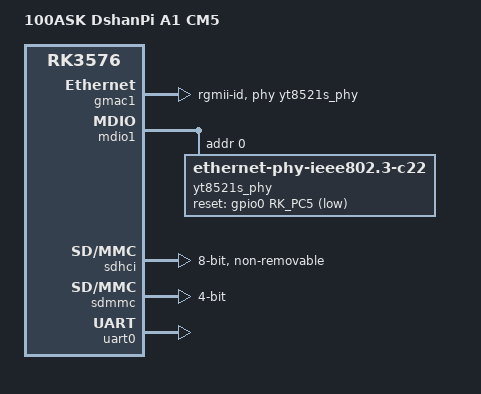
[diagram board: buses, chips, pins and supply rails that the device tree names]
// SPDX-License-Identifier: (GPL-2.0+ OR MIT)
/*
 * Copyright (c) 2026 sckiyo <sckiyo@outlook.com>
 *
 * 100ASK DshanPi A1 CM5 core module.
 * This U-Boot DT holds only the boot devices:
 * debug UART, TF card, eMMC, and the RGMII1 Ethernet PHY.
 * The carrier has no devices that U-Boot needs at boot.
 */

/dts-v1/;

#include <dt-bindings/gpio/gpio.h>
#include <dt-bindings/pinctrl/rockchip.h>
#include "rk3576.dtsi"

/ {
	model = "100ASK DshanPi A1 CM5";
	compatible = "100ask,dshanpi-a1-cm5", "rockchip,rk3576";

	aliases {
		ethernet0 = &gmac1;
		mmc0 = &sdhci;
		mmc1 = &sdmmc;
		mmc2 = &sdio;
	};

	chosen {
		stdout-path = "serial0:1500000n8";
	};
};

&gmac1 {
	clock_in_out = "output";
	phy-handle = <&yt8521s_phy>;
	phy-mode = "rgmii-id";
	tx_delay = <0x00>;
	rx_delay = <0x00>;
	pinctrl-names = "default";
	pinctrl-0 = <&eth1m0_miim
		     &eth1m0_tx_bus2
		     &eth1m0_rx_bus2
		     &eth1m0_rgmii_clk
		     &eth1m0_rgmii_bus>;
	status = "okay";
};

&mdio1 {
	yt8521s_phy: ethernet-phy@0 {
		compatible = "ethernet-phy-ieee802.3-c22";
		reg = <0>;
		pinctrl-names = "default";
		pinctrl-0 = <&gmac1_rstn>;
		reset-assert-us = <20000>;
		reset-deassert-us = <100000>;
		reset-gpios = <&gpio0 RK_PC5 GPIO_ACTIVE_LOW>;
		/* PHY TX and RX delay is 1.95 ns in rgmii-id mode. */
		rx-internal-delay-ps = <1950>;
		tx-internal-delay-ps = <1950>;
	};
};

&pinctrl {
	gmac {
		gmac1_rstn: gmac1-rstn {
			rockchip,pins = <0 RK_PC5 RK_FUNC_GPIO &pcfg_pull_none>;
		};
	};
};

&sdhci {
	bus-width = <8>;
	max-frequency = <200000000>;
	mmc-hs400-1_8v;
	mmc-hs400-enhanced-strobe;
	no-sdio;
	no-sd;
	non-removable;
	status = "okay";
};

/*
 * GPIO0_B6 keeps the SDMMC0_PWREN function from the SoC default pinctrl.
 * dw_mmc sets PWREN at init, so the TF card has power.
 * Linux drives the same pin as a GPIO regulator.
 */
&sdmmc {
	bus-width = <4>;
	cap-sd-highspeed;
	disable-wp;
	max-frequency = <50000000>;
	no-mmc;
	no-sdio;
	status = "okay";
};

&uart0 {
	pinctrl-names = "default";
	pinctrl-0 = <&uart0m0_xfer>;
	status = "okay";
};
